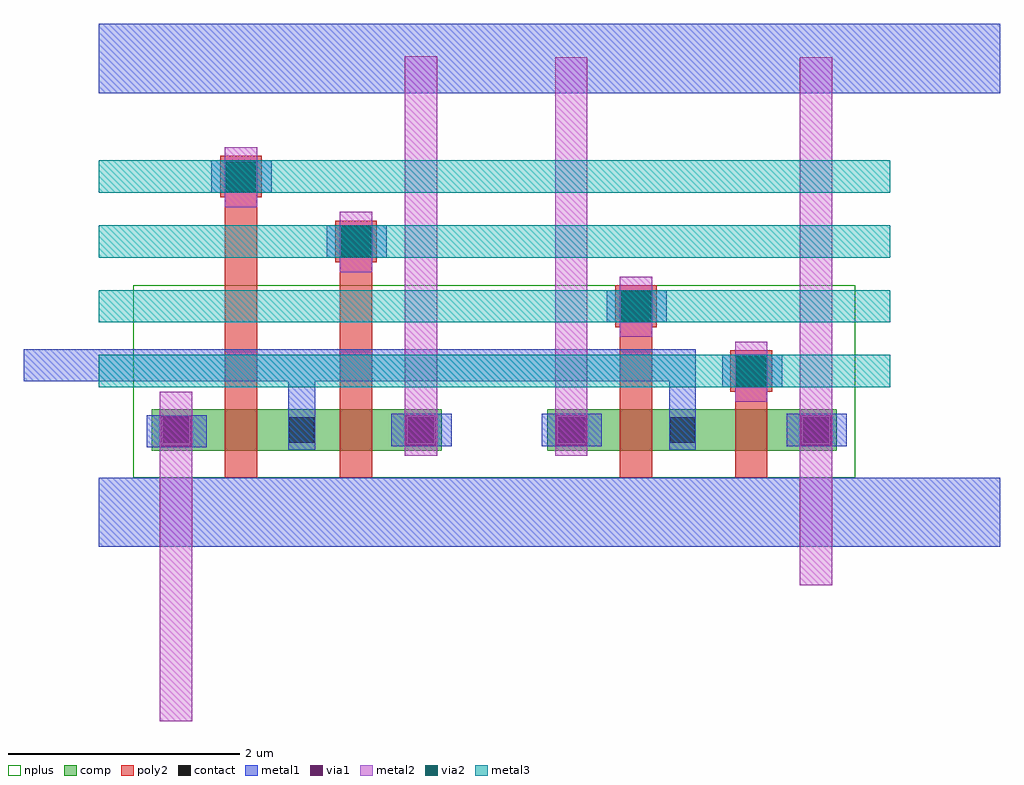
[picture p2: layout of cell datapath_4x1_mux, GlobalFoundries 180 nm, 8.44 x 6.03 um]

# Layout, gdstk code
import gdstk
lib = gdstk.Library(unit=1e-6, precision=5e-09)
def R(c, l, rs):  # rectangles x0, y0, x1, y1
    for r in rs: c.add(gdstk.rectangle(r[:2], r[2:], *l))
def A(c, l, x, y, w, h, nx, ny, dx, dy):  # array of equal rectangles
    R(c, l, [(x+i*dx, y+j*dy, x+i*dx+w, y+j*dy+h) for i in range(nx) for j in range(ny)])
comp = (22, 0)
poly2 = (30, 0)
nplus = (32, 0)
contact = (33, 0)
metal1 = (34, 0)
via1 = (35, 0)
metal2 = (36, 0)
via2 = (38, 0)
metal3 = (42, 0)

datapath_4x1_mux = lib.new_cell('datapath_4x1_mux')
R(datapath_4x1_mux, comp, [(-1.605,2.58,0.9,2.94), (1.81,2.58,4.315,2.94)])
R(datapath_4x1_mux, poly2, [(-0.975,2.35,-0.695,4.77), (0.02,2.35,0.3,4.21), (2.44,2.35,2.72,3.65), (3.435,2.35,3.715,3.09), (3.395,3.09,3.755,3.45), (2.4,3.65,2.76,4.01), (-0.02,4.21,0.34,4.57), (-1.015,4.77,-0.655,5.13)])
R(datapath_4x1_mux, nplus, [(-1.765,2.35,4.475,4.01)])
R(datapath_4x1_mux, contact, [(-1.505,2.65,-1.285,2.87), (-0.42,2.65,-0.2,2.87), (0.61,2.65,0.83,2.87), (1.91,2.65,2.13,2.87), (2.87,2.65,3.09,2.87), (4.025,2.65,4.245,2.87), (3.465,3.16,3.685,3.38), (2.47,3.72,2.69,3.94), (0.05,4.28,0.27,4.5), (-0.945,4.84,-0.725,5.06)])
R(datapath_4x1_mux, metal1, [(-2.065,1.75,5.725,2.35), (-0.425,2.59,-0.195,3.18), (2.865,2.59,3.095,3.46), (-1.65,2.61,-1.13,2.89), (0.465,2.62,0.985,2.9), (1.765,2.62,2.285,2.9), (3.88,2.62,4.4,2.9), (3.325,3.13,3.845,3.41), (-2.71,3.18,2.865,3.46), (2.325,3.69,2.845,3.97), (-0.095,4.25,0.425,4.53), (-1.09,4.81,-0.57,5.09), (-2.065,5.67,5.725,6.27)])
R(datapath_4x1_mux, via1, [(-1.525,2.62,-1.265,2.88), (0.59,2.63,0.85,2.89), (1.89,2.63,2.15,2.89), (4.005,2.63,4.265,2.89), (3.445,3.14,3.705,3.4), (2.45,3.7,2.71,3.96), (0.03,4.26,0.29,4.52), (-0.965,4.82,-0.705,5.08)])
R(datapath_4x1_mux, metal2, [(-1.535,0.245,-1.255,3.09), (3.995,1.42,4.275,5.98), (0.58,2.54,0.86,5.99), (1.88,2.54,2.16,5.98), (3.435,3.005,3.715,3.525), (2.44,3.565,2.72,4.085), (0.02,4.125,0.3,4.645), (-0.975,4.685,-0.695,5.205)])
R(datapath_4x1_mux, via2, [(3.445,3.14,3.705,3.4), (2.45,3.7,2.71,3.96), (0.03,4.26,0.29,4.52), (-0.965,4.82,-0.705,5.08)])
A(datapath_4x1_mux, metal3, -2.065, 3.13, 6.84, 0.28, 1, 4, 0, 0.56)

lib.write_gds('datapath_4x1_mux.gds')
